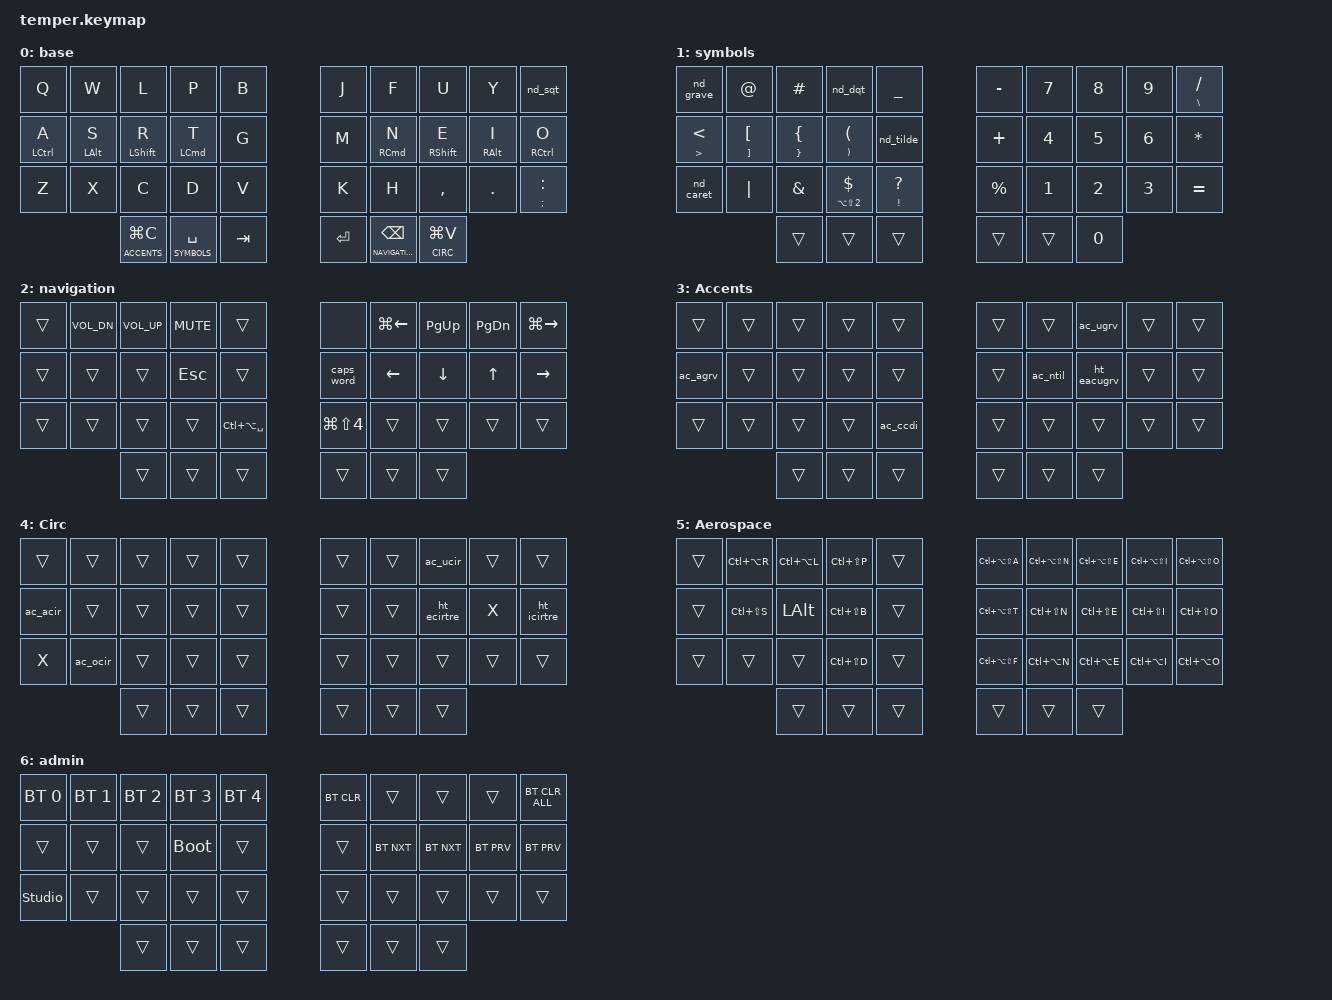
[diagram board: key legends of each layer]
#include <behaviors.dtsi>
#include <dt-bindings/zmk/bt.h>
#include <dt-bindings/zmk/keys.h>

#define BASE 0
#define SYMBOLS 1
#define NAVIGATION 2
#define ACCENTS 3
#define CIRC 4
#define AEROSPACE 5
#define ADMIN 6

#include "features/behaviors.dtsi"
#include "features/accents.dtsi"
#include "features/symbols.dtsi"

/ {
    conditional_layers {
        compatible = "zmk,conditional-layers";

        aerospace {
            if-layers = <SYMBOLS NAVIGATION>;
            then-layer = <AEROSPACE>;
        };
        admin {
            if-layers = <ACCENTS CIRC>;
            then-layer = <ADMIN>;
        };
    };

    keymap {
        compatible = "zmk,keymap";

        base {
            bindings = <
&kp Q         &kp W        &kp L              &kp P              &kp B      &kp J    &kp F                &kp U           &kp Y        &nd_sqt
&hml LCTRL A  &hml LALT S  &hml LSHFT R       &hml LCMD T        &kp G      &kp M    &hmr RCMD N          &hmr RSHFT E    &hmr RALT I  &hmr RCTRL O
&kp Z         &kp X        &kp C              &kp D              &kp V      &kp K    &kp H                &kp COMMA       &kp DOT      &mt SEMI COLON
                           &lt ACCENTS LG(C)  &lt SYMBOLS SPACE  &kp TAB    &kp RET  &lt NAVIGATION BSPC  &lt CIRC LG(V)
            >;

            label = "base";
        };

        symbols {
            bindings = <
&nd_grave  &kp AT         &kp HASH       &nd_dqt                &kp UNDERSCORE    &kp MINUS  &kp N7  &kp N8  &kp N9  &mt BSLH FSLH
&mt GT LT  &mt RBKT LBKT  &mt RBRC LBRC  &mt RPAR LPAR          &nd_tilde         &kp PLUS   &kp N4  &kp N5  &kp N6  &kp STAR
&nd_caret  &kp PIPE       &kp AMPS       &mt LA(LS(N2)) DOLLAR  &mt EXCL QMARK    &kp PRCNT  &kp N1  &kp N2  &kp N3  &kp EQUAL
                          &trans         &trans                 &trans            &trans     &trans  &kp N0
            >;

            label = "symbols";
        };

        navigation {
            bindings = <
&trans     &kp C_VOL_DN  &kp C_VOL_UP  &kp C_MUTE  &trans               &none               &kp LG(LEFT)  &kp PAGE_UP  &kp PAGE_DOWN  &kp LG(RIGHT)
&trans     &trans        &trans        &kp ESC     &trans               &caps_word          &kp LEFT      &kp DOWN     &kp UP         &kp RIGHT
&trans     &trans        &trans        &trans      &kp LC(LA(SPACE))    &kp LG(LS(N4))      &trans        &trans       &trans         &trans
                              &trans        &trans      &trans               &trans              &trans        &trans
            >;

            label = "navigation";
        };

        accents {
            bindings = <
&trans    &trans  &trans    &trans  &trans    &trans  &trans    &ac_ugrv     &trans  &trans
&ac_agrv  &trans  &trans    &trans  &trans    &trans  &ac_ntil  &ht_eacugrv  &trans  &trans
&trans    &trans  &trans   &trans   &ac_ccdi  &trans  &trans    &trans       &trans  &trans
                  &trans    &trans  &trans    &trans  &trans    &trans
            >;

            label = "Accents";
        };

        circ {
            bindings = <
&trans    &trans    &trans  &trans  &trans    &trans  &trans  &ac_ucir     &trans  &trans
&ac_acir  &trans    &trans  &trans  &trans    &trans  &trans  &ht_ecirtre  &kp X   &ht_icirtre
&kp X     &ac_ocir  &trans  &trans  &trans    &trans  &trans  &trans       &trans  &trans
                    &trans  &trans  &trans    &trans  &trans  &trans
            >;

            label = "Circ";
        };

        aerospace {
            bindings = <
&trans  &kp LC(LA(R))  &kp LC(LA(L))  &kp LC(LS(P))  &trans    &kp LC(LA(LS(A)))  &kp LC(LA(LS(N)))  &kp LC(LA(LS(E)))  &kp LC(LA(LS(I)))  &kp LC(LA(LS(O)))
&trans  &kp LC(LS(S))  &kp LALT       &kp LC(LS(B))  &trans    &kp LC(LA(LS(T)))  &kp LC(LS(N))      &kp LC(LS(E))      &kp LC(LS(I))      &kp LC(LS(O))
&trans  &trans         &trans         &kp LC(LS(D))  &trans    &kp LC(LA(LS(F)))  &kp LC(LA(N))      &kp LC(LA(E))      &kp LC(LA(I))      &kp LC(LA(O))
                       &trans         &trans         &trans    &trans             &trans             &trans
            >;

            label = "Aerospace";
        };

        admin {
            bindings = <
&bt BT_SEL 0    &bt BT_SEL 1  &bt BT_SEL 2  &bt BT_SEL 3 &bt BT_SEL 4         &bt BT_CLR    &trans        &trans       &trans         &bt BT_CLR_ALL
&trans          &trans        &trans        &bootloader  &trans               &trans        &bt BT_NXT    &bt BT_NXT   &bt BT_PRV     &bt BT_PRV
&studio_unlock  &trans        &trans        &trans       &trans               &trans        &trans        &trans       &trans         &trans
                              &trans        &trans       &trans               &trans        &trans        &trans
            >;

            label = "admin";
        };
    };
};
